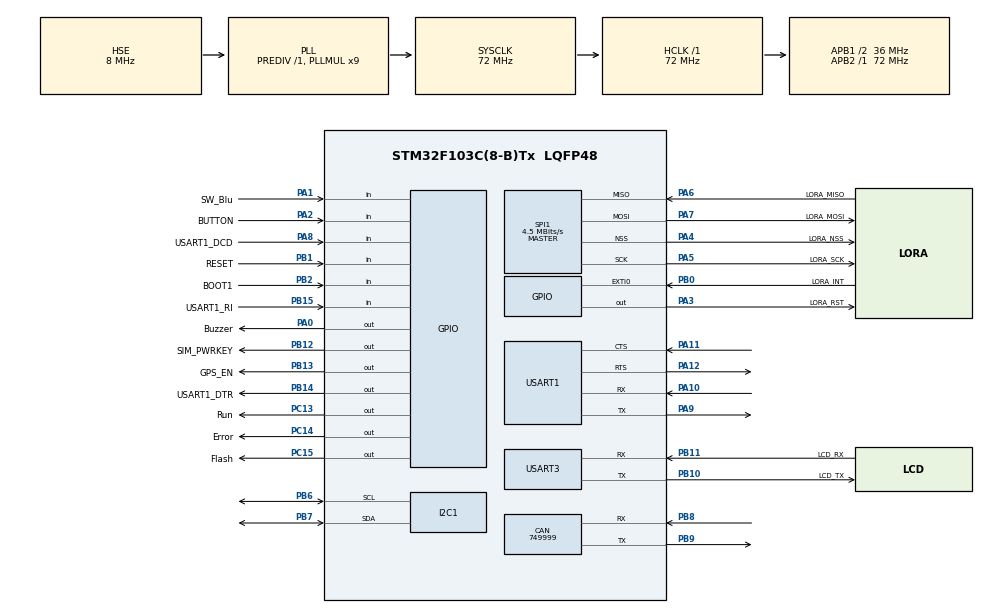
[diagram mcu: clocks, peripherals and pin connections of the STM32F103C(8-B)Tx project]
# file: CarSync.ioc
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CAN.CalculateBaudRate=749999
CAN.CalculateTimeBit=1333
CAN.CalculateTimeQuantum=444.44444444444446
Mcu.Family=STM32F1
Mcu.Name=STM32F103C(8-B)Tx
Mcu.Package=LQFP48
NVIC.EXTI0_IRQn=true\:0\:0\:false\:false\:true\:true\:true\:true
NVIC.PriorityGroup=NVIC_PRIORITYGROUP_4
NVIC.USB_LP_CAN1_RX0_IRQn=true\:0\:0\:false\:false\:true\:false\:true\:true
PA0-WKUP.GPIO_Label=Buzzer
PA0-WKUP.Signal=GPIO_Output
PA1.GPIO_Label=SW_Blu
PA1.Signal=GPIO_Input
PA10.Mode=Asynchronous
PA10.Signal=USART1_RX
PA11.Mode=CTS_RTS
PA11.Signal=USART1_CTS
PA12.Mode=CTS_RTS
PA12.Signal=USART1_RTS
PA13.Mode=Trace_Asynchronous_SW
PA13.Signal=SYS_JTMS-SWDIO
PA14.Mode=Trace_Asynchronous_SW
PA14.Signal=SYS_JTCK-SWCLK
PA2.GPIO_Label=BUTTON
PA2.Signal=GPIO_Input
PA3.GPIO_Label=LORA_RST
PA3.Signal=GPIO_Output
PA4.GPIO_Label=LORA_NSS
PA4.Mode=NSS_Signal_Hard_Output
PA4.Signal=SPI1_NSS
PA5.GPIO_Label=LORA_SCK
PA5.Mode=Full_Duplex_Master
PA5.Signal=SPI1_SCK
PA6.GPIO_Label=LORA_MISO
PA6.Mode=Full_Duplex_Master
PA6.Signal=SPI1_MISO
PA7.GPIO_Label=LORA_MOSI
PA7.Mode=Full_Duplex_Master
PA7.Signal=SPI1_MOSI
PA8.GPIO_Label=USART1_DCD
PA8.Signal=GPIO_Input
PA9.Mode=Asynchronous
PA9.Signal=USART1_TX
PB0.GPIO_Label=LORA_INT
PB0.Signal=GPXTI0
PB1.GPIO_Label=RESET
PB1.Signal=GPIO_Input
PB10.GPIO_Label=LCD_TX
PB10.Mode=Asynchronous
PB10.Signal=USART3_TX
PB11.GPIO_Label=LCD_RX
PB11.Mode=Asynchronous
PB11.Signal=USART3_RX
PB12.GPIO_Label=SIM_PWRKEY
PB12.Signal=GPIO_Output
PB13.GPIO_Label=GPS_EN
PB13.Signal=GPIO_Output
PB14.GPIO_Label=USART1_DTR
PB14.Signal=GPIO_Output
PB15.GPIO_Label=USART1_RI
PB15.Signal=GPIO_Input
PB2.GPIO_Label=BOOT1
PB2.Signal=GPIO_Input
PB3.Mode=Trace_Asynchronous_SW
PB3.Signal=SYS_JTDO-TRACESWO
PB6.Mode=I2C
PB6.Signal=I2C1_SCL
PB7.Mode=I2C
PB7.Signal=I2C1_SDA
PB8.Mode=CAN_Activate
PB8.Signal=CAN_RX
PB9.Mode=CAN_Activate
PB9.Signal=CAN_TX
PC13-TAMPER-RTC.GPIO_Label=Run
PC13-TAMPER-RTC.Signal=GPIO_Output
PC14-OSC32_IN.GPIO_Label=Error
PC14-OSC32_IN.Signal=GPIO_Output
PC15-OSC32_OUT.GPIO_Label=Flash
PC15-OSC32_OUT.Signal=GPIO_Output
PD0-OSC_IN.Mode=HSE-External-Oscillator
PD0-OSC_IN.Signal=RCC_OSC_IN
PD1-OSC_OUT.Mode=HSE-External-Oscillator
PD1-OSC_OUT.Signal=RCC_OSC_OUT
ProjectManager.HeapSize=0x200
ProjectManager.StackSize=0x400
ProjectManager.TargetToolchain=STM32CubeIDE
RCC.AHBFreq_Value=72000000
RCC.APB1CLKDivider=RCC_HCLK_DIV2
RCC.APB1Freq_Value=36000000
RCC.APB1TimFreq_Value=72000000
RCC.APB2Freq_Value=72000000
RCC.APB2TimFreq_Value=72000000
RCC.HCLKFreq_Value=72000000
RCC.PLLMUL=RCC_PLL_MUL9
RCC.PLLSourceVirtual=RCC_PLLSOURCE_HSE
RCC.SYSCLKFreq_VALUE=72000000
RCC.SYSCLKSource=RCC_SYSCLKSOURCE_PLLCLK
RCC.USBFreq_Value=48000000
RCC.USBPrescaler=RCC_USBCLKSOURCE_PLL_DIV1_5
SPI1.BaudRatePrescaler=SPI_BAUDRATEPRESCALER_16
SPI1.CalculateBaudRate=4.5 MBits/s
SPI1.Direction=SPI_DIRECTION_2LINES
SPI1.Mode=SPI_MODE_MASTER
SPI1.VirtualNSS=VM_NSSHARD
SPI1.VirtualType=VM_MASTER
USART1.VirtualMode=VM_ASYNC
USART3.VirtualMode=VM_ASYNC
VP_CRC_VS_CRC.Mode=CRC_Activate
board=custom

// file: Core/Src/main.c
/* USER CODE BEGIN Header */
/**
  ******************************************************************************
  * @file           : main.c
  * @brief          : Main program body
  ******************************************************************************
  * @attention
  *
  * Copyright (c) 2025 STMicroelectronics.
  * All rights reserved.
  *
  * This software is licensed under terms that can be found in the LICENSE file
  * in the root directory of this software component.
  * If no LICENSE file comes with this software, it is provided AS-IS.
  *
  ******************************************************************************
  */
/* USER CODE END Header */
#include "main.h"

/* USER CODE BEGIN Includes */
#include "communication.h"
#include "mpu_6050_task.h"
#include "ack_handler.h"
#include "SIM868.h"

/* USER CODE END Includes */

CAN_HandleTypeDef hcan;

CRC_HandleTypeDef hcrc;

I2C_HandleTypeDef hi2c1;

SPI_HandleTypeDef hspi1;

UART_HandleTypeDef huart1;
UART_HandleTypeDef huart3;

/* USER CODE BEGIN PV */

uint8_t receivedFlag = 0;
MPU6050_t MPU6050;
LoRa myLoRa;
bool useLoRa = false; // Fallback flag
bool vehicleFlipped = false; // Flag to indicate vehicle flip

/* USER CODE END PV */

void SystemClock_Config(void);
static void MX_GPIO_Init(void);
static void MX_CRC_Init(void);
static void MX_I2C1_Init(void);
static void MX_SPI1_Init(void);
static void MX_USART1_UART_Init(void);
static void MX_CAN_Init(void);
static void MX_USART3_UART_Init(void);
/* USER CODE BEGIN PFP */
void HAL_GPIO_EXTI_Callback(uint16_t GPIO_Pin);

/* USER CODE END PFP */

int main(void)
{

  /* MCU Configuration--------------------------------------------------------*/

  /* Reset of all peripherals, Initializes the Flash interface and the Systick. */
  HAL_Init();

  /* Configure the system clock */
  SystemClock_Config();

  /* Initialize all configured peripherals */
  MX_GPIO_Init();
  MX_CRC_Init();
  MX_I2C1_Init();
  MX_SPI1_Init();
  MX_USART1_UART_Init();
  MX_CAN_Init();
  MX_USART3_UART_Init();
  /* USER CODE BEGIN 2 */

  // Initialize sensors and modules
   if (MPU6050_Init(&hi2c1) != 0) {
       while (1); // Halt on error
      }
  SIM868_Init(&huart1);
     LoRa_Init();

 	 // Start LoRa receiving
 	  LoRa_startReceiving(&myLoRa);

  /* USER CODE END 2 */

  /* Infinite loop */
  while (1)
  {

    /* USER CODE BEGIN 3 */

	  CheckSignalAndSwitchCommunication(&huart1, &useLoRa);
	      MPU6050_Data(&hi2c1, &MPU6050, &vehicleFlipped);
	      SendMPU6050DataViaMQTT(&huart1, &MPU6050, useLoRa);
	      SendCANDataViaMQTT(&huart1, useLoRa);
	      if (vehicleFlipped)
	      {
	          if (!useLoRa)
	          {
	        	  SendGPSDataViaMQTT(&huart1);
	          }
	          else
	          {
	        	  SendAccidentDataViaLoRa(&myLoRa);
	          }
	      }

	      HandleLoRaCommunication(&myLoRa, &receivedFlag);
	      HAL_Delay(1000);

  }

  /* USER CODE END 3 */
}

void SystemClock_Config(void)
{
  RCC_OscInitTypeDef RCC_OscInitStruct = {0};
  RCC_ClkInitTypeDef RCC_ClkInitStruct = {0};

  /** Initializes the RCC Oscillators according to the specified parameters
  * in the RCC_OscInitTypeDef structure.
  */
  RCC_OscInitStruct.OscillatorType = RCC_OSCILLATORTYPE_HSE;
  RCC_OscInitStruct.HSEState = RCC_HSE_ON;
  RCC_OscInitStruct.HSEPredivValue = RCC_HSE_PREDIV_DIV1;
  RCC_OscInitStruct.HSIState = RCC_HSI_ON;
  RCC_OscInitStruct.PLL.PLLState = RCC_PLL_ON;
  RCC_OscInitStruct.PLL.PLLSource = RCC_PLLSOURCE_HSE;
  RCC_OscInitStruct.PLL.PLLMUL = RCC_PLL_MUL9;
  if (HAL_RCC_OscConfig(&RCC_OscInitStruct) != HAL_OK)
  {
    Error_Handler();
  }

  /** Initializes the CPU, AHB and APB buses clocks
  */
  RCC_ClkInitStruct.ClockType = RCC_CLOCKTYPE_HCLK|RCC_CLOCKTYPE_SYSCLK
                              |RCC_CLOCKTYPE_PCLK1|RCC_CLOCKTYPE_PCLK2;
  RCC_ClkInitStruct.SYSCLKSource = RCC_SYSCLKSOURCE_PLLCLK;
  RCC_ClkInitStruct.AHBCLKDivider = RCC_SYSCLK_DIV1;
  RCC_ClkInitStruct.APB1CLKDivider = RCC_HCLK_DIV2;
  RCC_ClkInitStruct.APB2CLKDivider = RCC_HCLK_DIV1;

  if (HAL_RCC_ClockConfig(&RCC_ClkInitStruct, FLASH_LATENCY_2) != HAL_OK)
  {
    Error_Handler();
  }
}

static void MX_CAN_Init(void)
{

  hcan.Instance = CAN1;
  hcan.Init.Prescaler = 16;
  hcan.Init.Mode = CAN_MODE_NORMAL;
  hcan.Init.SyncJumpWidth = CAN_SJW_1TQ;
  hcan.Init.TimeSeg1 = CAN_BS1_1TQ;
  hcan.Init.TimeSeg2 = CAN_BS2_1TQ;
  hcan.Init.TimeTriggeredMode = DISABLE;
  hcan.Init.AutoBusOff = DISABLE;
  hcan.Init.AutoWakeUp = DISABLE;
  hcan.Init.AutoRetransmission = DISABLE;
  hcan.Init.ReceiveFifoLocked = DISABLE;
  hcan.Init.TransmitFifoPriority = DISABLE;
  if (HAL_CAN_Init(&hcan) != HAL_OK)
  {
    Error_Handler();
  }

}

static void MX_CRC_Init(void)
{

  hcrc.Instance = CRC;
  if (HAL_CRC_Init(&hcrc) != HAL_OK)
  {
    Error_Handler();
  }

}

static void MX_I2C1_Init(void)
{

  hi2c1.Instance = I2C1;
  hi2c1.Init.ClockSpeed = 100000;
  hi2c1.Init.DutyCycle = I2C_DUTYCYCLE_2;
  hi2c1.Init.OwnAddress1 = 0;
  hi2c1.Init.AddressingMode = I2C_ADDRESSINGMODE_7BIT;
  hi2c1.Init.DualAddressMode = I2C_DUALADDRESS_DISABLE;
  hi2c1.Init.OwnAddress2 = 0;
  hi2c1.Init.GeneralCallMode = I2C_GENERALCALL_DISABLE;
  hi2c1.Init.NoStretchMode = I2C_NOSTRETCH_DISABLE;
  if (HAL_I2C_Init(&hi2c1) != HAL_OK)
  {
    Error_Handler();
  }

}

static void MX_SPI1_Init(void)
{

  /* SPI1 parameter configuration*/
  hspi1.Instance = SPI1;
  hspi1.Init.Mode = SPI_MODE_MASTER;
  hspi1.Init.Direction = SPI_DIRECTION_2LINES;
  hspi1.Init.DataSize = SPI_DATASIZE_8BIT;
  hspi1.Init.CLKPolarity = SPI_POLARITY_LOW;
  hspi1.Init.CLKPhase = SPI_PHASE_1EDGE;
  hspi1.Init.NSS = SPI_NSS_HARD_OUTPUT;
  hspi1.Init.BaudRatePrescaler = SPI_BAUDRATEPRESCALER_16;
  hspi1.Init.FirstBit = SPI_FIRSTBIT_MSB;
  hspi1.Init.TIMode = SPI_TIMODE_DISABLE;
  hspi1.Init.CRCCalculation = SPI_CRCCALCULATION_DISABLE;
  hspi1.Init.CRCPolynomial = 10;
  if (HAL_SPI_Init(&hspi1) != HAL_OK)
  {
    Error_Handler();
  }

}

static void MX_USART1_UART_Init(void)
{

  huart1.Instance = USART1;
  huart1.Init.BaudRate = 115200;
  huart1.Init.WordLength = UART_WORDLENGTH_8B;
  huart1.Init.StopBits = UART_STOPBITS_1;
  huart1.Init.Parity = UART_PARITY_NONE;
  huart1.Init.Mode = UART_MODE_TX_RX;
  huart1.Init.HwFlowCtl = UART_HWCONTROL_RTS_CTS;
  huart1.Init.OverSampling = UART_OVERSAMPLING_16;
  if (HAL_UART_Init(&huart1) != HAL_OK)
  {
    Error_Handler();
  }

}

static void MX_USART3_UART_Init(void)
{

  huart3.Instance = USART3;
  huart3.Init.BaudRate = 115200;
  huart3.Init.WordLength = UART_WORDLENGTH_8B;
  huart3.Init.StopBits = UART_STOPBITS_1;
  huart3.Init.Parity = UART_PARITY_NONE;
  huart3.Init.Mode = UART_MODE_TX_RX;
  huart3.Init.HwFlowCtl = UART_HWCONTROL_NONE;
  huart3.Init.OverSampling = UART_OVERSAMPLING_16;
  if (HAL_UART_Init(&huart3) != HAL_OK)
  {
    Error_Handler();
  }

}

static void MX_GPIO_Init(void)
{
  GPIO_InitTypeDef GPIO_InitStruct = {0};

  /* GPIO Ports Clock Enable */
  __HAL_RCC_GPIOC_CLK_ENABLE();
  __HAL_RCC_GPIOD_CLK_ENABLE();
  __HAL_RCC_GPIOA_CLK_ENABLE();
  __HAL_RCC_GPIOB_CLK_ENABLE();

  /*Configure GPIO pin Output Level */
  HAL_GPIO_WritePin(GPIOC, Run_Pin|Error_Pin|Flash_Pin, GPIO_PIN_RESET);

  /*Configure GPIO pin Output Level */
  HAL_GPIO_WritePin(GPIOA, Buzzer_Pin|LORA_RST_Pin, GPIO_PIN_RESET);

  /*Configure GPIO pin Output Level */
  HAL_GPIO_WritePin(GPIOB, SIM_PWRKEY_Pin|GPS_EN_Pin|USART1_DTR_Pin, GPIO_PIN_RESET);

  /*Configure GPIO pins : Run_Pin Error_Pin Flash_Pin */
  GPIO_InitStruct.Pin = Run_Pin|Error_Pin|Flash_Pin;
  GPIO_InitStruct.Mode = GPIO_MODE_OUTPUT_PP;
  GPIO_InitStruct.Pull = GPIO_NOPULL;
  GPIO_InitStruct.Speed = GPIO_SPEED_FREQ_LOW;
  HAL_GPIO_Init(GPIOC, &GPIO_InitStruct);

  /*Configure GPIO pins : Buzzer_Pin LORA_RST_Pin */
  GPIO_InitStruct.Pin = Buzzer_Pin|LORA_RST_Pin;
  GPIO_InitStruct.Mode = GPIO_MODE_OUTPUT_PP;
  GPIO_InitStruct.Pull = GPIO_NOPULL;
  GPIO_InitStruct.Speed = GPIO_SPEED_FREQ_LOW;
  HAL_GPIO_Init(GPIOA, &GPIO_InitStruct);

  /*Configure GPIO pins : SW_Blu_Pin BUTTON_Pin USART1_DCD_Pin */
  GPIO_InitStruct.Pin = SW_Blu_Pin|BUTTON_Pin|USART1_DCD_Pin;
  GPIO_InitStruct.Mode = GPIO_MODE_INPUT;
  GPIO_InitStruct.Pull = GPIO_NOPULL;
  HAL_GPIO_Init(GPIOA, &GPIO_InitStruct);

  /*Configure GPIO pin : LORA_INT_Pin */
  GPIO_InitStruct.Pin = LORA_INT_Pin;
  GPIO_InitStruct.Mode = GPIO_MODE_IT_RISING;
  GPIO_InitStruct.Pull = GPIO_NOPULL;
  HAL_GPIO_Init(LORA_INT_GPIO_Port, &GPIO_InitStruct);

  /*Configure GPIO pins : RESET_Pin BOOT1_Pin USART1_RI_Pin */
  GPIO_InitStruct.Pin = RESET_Pin|BOOT1_Pin|USART1_RI_Pin;
  GPIO_InitStruct.Mode = GPIO_MODE_INPUT;
  GPIO_InitStruct.Pull = GPIO_NOPULL;
  HAL_GPIO_Init(GPIOB, &GPIO_InitStruct);

  /*Configure GPIO pins : SIM_PWRKEY_Pin GPS_EN_Pin USART1_DTR_Pin */
  GPIO_InitStruct.Pin = SIM_PWRKEY_Pin|GPS_EN_Pin|USART1_DTR_Pin;
  GPIO_InitStruct.Mode = GPIO_MODE_OUTPUT_PP;
  GPIO_InitStruct.Pull = GPIO_NOPULL;
  GPIO_InitStruct.Speed = GPIO_SPEED_FREQ_LOW;
  HAL_GPIO_Init(GPIOB, &GPIO_InitStruct);

  /* EXTI interrupt init*/
  HAL_NVIC_SetPriority(EXTI0_IRQn, 0, 0);
  HAL_NVIC_EnableIRQ(EXTI0_IRQn);

}

/* USER CODE BEGIN 4 */

void HAL_GPIO_EXTI_Callback(uint16_t GPIO_Pin)
{
    if (GPIO_Pin == myLoRa.DIO0_pin)
    {
        // This indicates a packet has been received
        receivedFlag = 1;
    }
}

/* USER CODE END 4 */

void Error_Handler(void)
{
  __disable_irq();
  while (1)
  {
  }
}
